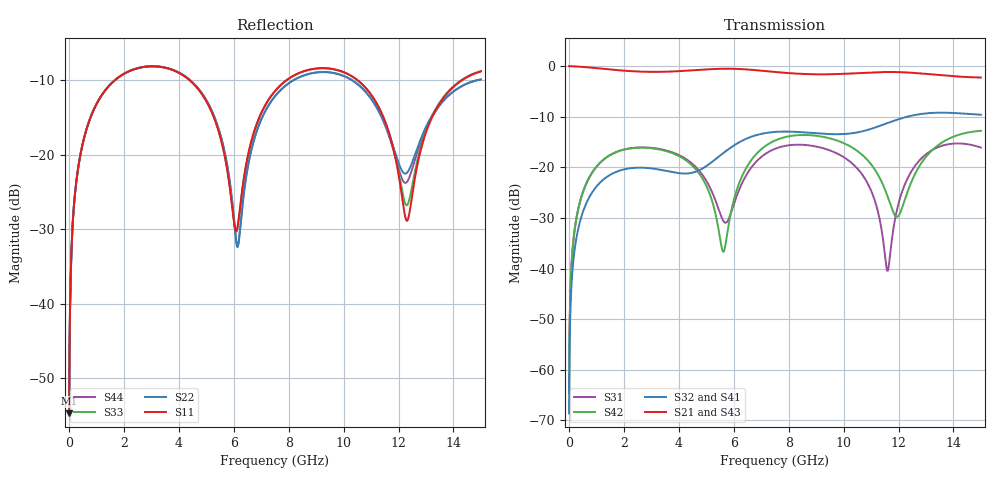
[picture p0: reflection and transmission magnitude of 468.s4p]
! Created with skrf 1.8.0 (http://scikit-rf.org).
# GHz S RI R 50.0
!freq ReS11 ImS11 ReS12 ImS12 ReS13 ImS13
! ReS14 ImS14
! ReS21 ImS21 ReS22 ImS22 ReS23 ImS23
! ReS24 ImS24
! ReS31 ImS31 ReS32 ImS32 ReS33 ImS33
! ReS34 ImS34
! ReS41 ImS41 ReS42 ImS42 ReS43 ImS43
! ReS44 ImS44
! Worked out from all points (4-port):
!   2499 points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, 5 MHz to 15 GHz, reference 50 ohm
!   strongest paths, dB at 5 MHz, 3.476 GHz, 7.19 GHz, 11.1 GHz, 15 GHz:
!     S21: 0.0, -1.1, -1.0, -1.2, -2.3
!     S43: 0.0, -1.1, -1.0, -1.2, -2.3
!     S32: -68.6, -20.6, -13.2, -12.2, -9.6
!     S41: -68.6, -20.7, -13.2, -12.3, -9.6
!     S42: -64.6, -16.7, -15.6, -20.1, -12.8
!     S31: -64.6, -16.6, -17.2, -25.9, -16.1
!   lowest |S11| = -54.7 dB at 5 MHz (marker M1), VSWR 1.00, Z = 50.1 + j0.112 ohm
!   |S11| at or under -10 dB: start of sweep to 1.664 GHz; 4.401 GHz to 7.91 GHz (3.509 GHz wide, 57 % of centre); 10.52 GHz to 14.31 GHz (3.789 GHz wide, 30.5 % of centre)
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0.005  0.00147 0.00112  0.9985 -0.00286  7.32e-05 0.000582  -7.11e-05 -0.000364
       0.9985 -0.00286  0.00147 0.00112  -7.11e-05 -0.000364  7.32e-05 0.000582
       7.32e-05 0.000582  -7.11e-05 -0.000364  0.00147 0.00112  0.9985 -0.00286
       -7.11e-05 -0.000364  7.32e-05 0.000582  0.9985 -0.00286  0.00147 0.00112
0.3126303  0.02 0.0741  0.9728 -0.1786  0.00902 0.0349  -0.00749 -0.0218
           0.9728 -0.1786  0.02 0.0741  -0.00749 -0.0218  0.00895 0.0349
           0.00902 0.0349  -0.00749 -0.0218  0.02 0.0741  0.9728 -0.1786
           -0.00749 -0.0218  0.00895 0.0349  0.9728 -0.1786  0.02 0.0741
1.569404  0.24 0.1881  0.6119 -0.6906  0.1171 0.0683  -0.0848 -0.0163
          0.6119 -0.6906  0.2402 0.1881  -0.0848 -0.0162  0.1158 0.0699
          0.1171 0.0683  -0.0848 -0.0162  0.24 0.1881  0.6119 -0.6906
          -0.0848 -0.0163  0.1158 0.0699  0.6119 -0.6906  0.2403 0.1881
5.939975  0.0323 -0.0317  -0.9291 -0.1516  -0.0274 0.0267  -0.0227 0.1584
          -0.9291 -0.1516  0.0267 -0.0409  -0.022 0.1585  0.021 0.0345
          -0.0274 0.0267  -0.022 0.1585  0.0322 -0.0328  -0.929 -0.1517
          -0.0227 0.1584  0.021 0.0345  -0.929 -0.1517  0.0272 -0.0419
9.547728  0.3734 -0.0632  0.026 0.8309  0.1366 -0.0496  0.1996 -0.0697
          0.026 0.8309  0.3555 -0.0286  0.2002 -0.0719  0.1409 -0.1301
          0.1366 -0.0496  0.2002 -0.0719  0.3728 -0.0596  0.0269 0.8311
          0.1996 -0.0697  0.1409 -0.1301  0.0269 0.8311  0.355 -0.0333
11.59858  0.0805 -0.1278  0.7615 0.4306  -0.00925 -0.00207  0.1291 -0.2412
          0.7615 0.4306  0.11 -0.0963  0.1252 -0.2433  -0.0377 -0.0359
          -0.00925 -0.00207  0.1252 -0.2433  0.0877 -0.1233  0.7626 0.429
          0.1291 -0.2412  -0.0377 -0.0359  0.7626 0.429  0.1017 -0.1003
15  0.3561 0.0683  0.2889 -0.7147  0.1538 -0.0302  -0.3261 -0.0615
    0.2889 -0.7147  0.3164 0.0526  -0.326 -0.0575  0.1865 -0.1336
    0.1538 -0.0302  -0.326 -0.0575  0.3603 0.0589  0.2855 -0.7155
    -0.3261 -0.0615  0.1865 -0.1336  0.2855 -0.7155  0.3152 0.0594
